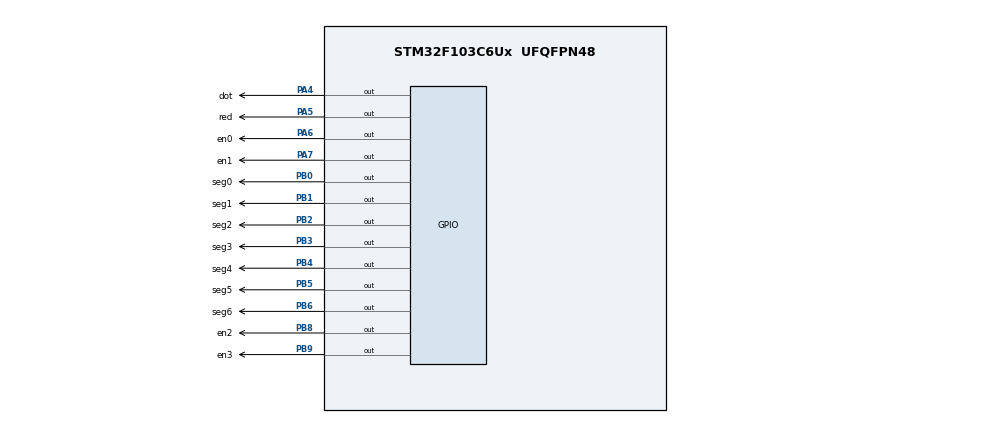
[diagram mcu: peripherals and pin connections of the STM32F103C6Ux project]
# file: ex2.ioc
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Mcu.Family=STM32F1
Mcu.Name=STM32F103C6Ux
Mcu.Package=UFQFPN48
NVIC.PriorityGroup=NVIC_PRIORITYGROUP_4
PA4.GPIO_Label=dot
PA4.Signal=GPIO_Output
PA5.GPIO_Label=red
PA5.Signal=GPIO_Output
PA6.GPIO_Label=en0
PA6.Signal=GPIO_Output
PA7.GPIO_Label=en1
PA7.Signal=GPIO_Output
PB0.GPIO_Label=seg0
PB0.Signal=GPIO_Output
PB1.GPIO_Label=seg1
PB1.Signal=GPIO_Output
PB2.GPIO_Label=seg2
PB2.Signal=GPIO_Output
PB3.GPIO_Label=seg3
PB3.Signal=GPIO_Output
PB4.GPIO_Label=seg4
PB4.Signal=GPIO_Output
PB5.GPIO_Label=seg5
PB5.Signal=GPIO_Output
PB6.GPIO_Label=seg6
PB6.Signal=GPIO_Output
PB8.GPIO_Label=en2
PB8.Signal=GPIO_Output
PB9.GPIO_Label=en3
PB9.Signal=GPIO_Output
ProjectManager.HeapSize=0x200
ProjectManager.StackSize=0x400
ProjectManager.TargetToolchain=STM32CubeIDE
RCC.APB1Freq_Value=8000000
RCC.APB2Freq_Value=8000000
VP_SYS_VS_ND.Mode=No_Debug
board=custom

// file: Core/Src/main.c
/* USER CODE BEGIN Header */
/**
  ******************************************************************************
  * @file           : main.c
  * @brief          : Main program body
  ******************************************************************************
  * @attention
  *
  * <h2><center>&copy; Copyright (c) 2023 STMicroelectronics.
  * All rights reserved.</center></h2>
  *
  * This software component is licensed by ST under BSD 3-Clause license,
  * the "License"; You may not use this file except in compliance with the
  * License. You may obtain a copy of the License at:
  *                        opensource.org/licenses/BSD-3-Clause
  *
  ******************************************************************************
  */
/* USER CODE END Header */
#include "main.h"

/* USER CODE BEGIN PV */
void display7SEG(int num){
	  if(num == 0){
		  HAL_GPIO_WritePin(seg0_GPIO_Port, seg0_Pin, SET);
		  		  HAL_GPIO_WritePin(seg1_GPIO_Port, seg1_Pin, RESET);
		  		  HAL_GPIO_WritePin(seg2_GPIO_Port, seg2_Pin, RESET);
		  		  HAL_GPIO_WritePin(seg3_GPIO_Port, seg3_Pin, RESET);
		  		  HAL_GPIO_WritePin(seg4_GPIO_Port, seg4_Pin, RESET);
		  		  HAL_GPIO_WritePin(seg5_GPIO_Port, seg5_Pin, RESET);
		  		  HAL_GPIO_WritePin(seg6_GPIO_Port, seg6_Pin, SET);
	  }
	  if(num == 1){
		  HAL_GPIO_WritePin(seg0_GPIO_Port, seg0_Pin, SET);
		  HAL_GPIO_WritePin(seg1_GPIO_Port, seg1_Pin, RESET);
		  HAL_GPIO_WritePin(seg2_GPIO_Port, seg2_Pin, RESET);
		  HAL_GPIO_WritePin(seg3_GPIO_Port, seg3_Pin, SET);
		  HAL_GPIO_WritePin(seg4_GPIO_Port, seg4_Pin, SET);
		  HAL_GPIO_WritePin(seg5_GPIO_Port, seg5_Pin, SET);
		  HAL_GPIO_WritePin(seg6_GPIO_Port, seg6_Pin, SET);
	  }
	  if(num == 2){
		  HAL_GPIO_WritePin(seg0_GPIO_Port, seg0_Pin, RESET);
		  HAL_GPIO_WritePin(seg1_GPIO_Port, seg1_Pin, RESET);
		  HAL_GPIO_WritePin(seg2_GPIO_Port, seg2_Pin, SET);
		  HAL_GPIO_WritePin(seg3_GPIO_Port, seg3_Pin, RESET);
		  HAL_GPIO_WritePin(seg4_GPIO_Port, seg4_Pin, RESET);
		  HAL_GPIO_WritePin(seg5_GPIO_Port, seg5_Pin, SET);
		  HAL_GPIO_WritePin(seg6_GPIO_Port, seg6_Pin, RESET);
	  }
	  if(num == 3){
		  HAL_GPIO_WritePin(seg0_GPIO_Port, seg0_Pin, RESET);
		  HAL_GPIO_WritePin(seg1_GPIO_Port, seg1_Pin, RESET);
		  HAL_GPIO_WritePin(seg2_GPIO_Port, seg2_Pin, RESET);
		  HAL_GPIO_WritePin(seg3_GPIO_Port, seg3_Pin, RESET);
		  HAL_GPIO_WritePin(seg4_GPIO_Port, seg4_Pin, SET);
		  HAL_GPIO_WritePin(seg5_GPIO_Port, seg5_Pin, SET);
		  HAL_GPIO_WritePin(seg6_GPIO_Port, seg6_Pin, RESET);
	  }
	  if(num == 4){
		  HAL_GPIO_WritePin(seg0_GPIO_Port, seg0_Pin, SET);
		  HAL_GPIO_WritePin(seg1_GPIO_Port, seg1_Pin, RESET);
		  HAL_GPIO_WritePin(seg2_GPIO_Port, seg2_Pin, RESET);
		  HAL_GPIO_WritePin(seg3_GPIO_Port, seg3_Pin, SET);
		  HAL_GPIO_WritePin(seg4_GPIO_Port, seg4_Pin, SET);
		  HAL_GPIO_WritePin(seg5_GPIO_Port, seg5_Pin, RESET);
		  HAL_GPIO_WritePin(seg6_GPIO_Port, seg6_Pin, RESET);
	  }
	  if(num == 5){
		  HAL_GPIO_WritePin(seg0_GPIO_Port, seg0_Pin, RESET);
		  HAL_GPIO_WritePin(seg1_GPIO_Port, seg1_Pin, SET);
		  HAL_GPIO_WritePin(seg2_GPIO_Port, seg2_Pin, RESET);
		  HAL_GPIO_WritePin(seg3_GPIO_Port, seg3_Pin, RESET);
		  HAL_GPIO_WritePin(seg4_GPIO_Port, seg4_Pin, SET);
		  HAL_GPIO_WritePin(seg5_GPIO_Port, seg5_Pin, RESET);
		  HAL_GPIO_WritePin(seg6_GPIO_Port, seg6_Pin, RESET);
	  }
	  if(num == 6){
		  HAL_GPIO_WritePin(seg0_GPIO_Port, seg0_Pin, RESET);
		  HAL_GPIO_WritePin(seg1_GPIO_Port, seg1_Pin, SET);
		  HAL_GPIO_WritePin(seg2_GPIO_Port, seg2_Pin, RESET);
		  HAL_GPIO_WritePin(seg3_GPIO_Port, seg3_Pin, RESET);
		  HAL_GPIO_WritePin(seg4_GPIO_Port, seg4_Pin, RESET);
		  HAL_GPIO_WritePin(seg5_GPIO_Port, seg5_Pin, RESET);
		  HAL_GPIO_WritePin(seg6_GPIO_Port, seg6_Pin, RESET);
	  }
	  if(num == 7){
		  HAL_GPIO_WritePin(seg0_GPIO_Port, seg0_Pin, RESET);
		  HAL_GPIO_WritePin(seg1_GPIO_Port, seg1_Pin, RESET);
		  HAL_GPIO_WritePin(seg2_GPIO_Port, seg2_Pin, RESET);
		  HAL_GPIO_WritePin(seg3_GPIO_Port, seg3_Pin, SET);
		  HAL_GPIO_WritePin(seg4_GPIO_Port, seg4_Pin, SET);
		  HAL_GPIO_WritePin(seg5_GPIO_Port, seg5_Pin, SET);
		  HAL_GPIO_WritePin(seg6_GPIO_Port, seg6_Pin, SET);
	  }
	  if(num == 8){
		  HAL_GPIO_WritePin(seg0_GPIO_Port, seg0_Pin, RESET);
		  HAL_GPIO_WritePin(seg1_GPIO_Port, seg1_Pin, RESET);
		  HAL_GPIO_WritePin(seg2_GPIO_Port, seg2_Pin, RESET);
		  HAL_GPIO_WritePin(seg3_GPIO_Port, seg3_Pin, RESET);
		  HAL_GPIO_WritePin(seg4_GPIO_Port, seg4_Pin, RESET);
		  HAL_GPIO_WritePin(seg5_GPIO_Port, seg5_Pin, RESET);
		  HAL_GPIO_WritePin(seg6_GPIO_Port, seg6_Pin, RESET);
	  }
	  if(num == 9){
		  HAL_GPIO_WritePin(seg0_GPIO_Port, seg0_Pin, RESET);
		  HAL_GPIO_WritePin(seg1_GPIO_Port, seg1_Pin, RESET);
		  HAL_GPIO_WritePin(seg2_GPIO_Port, seg2_Pin, RESET);
		  HAL_GPIO_WritePin(seg3_GPIO_Port, seg3_Pin, RESET);
		  HAL_GPIO_WritePin(seg4_GPIO_Port, seg4_Pin, SET);
		  HAL_GPIO_WritePin(seg5_GPIO_Port, seg5_Pin, RESET);
		  HAL_GPIO_WritePin(seg6_GPIO_Port, seg6_Pin, RESET);
	  }
};
/* USER CODE END PV */

void SystemClock_Config(void);
static void MX_GPIO_Init(void);

int main(void)
{

  /* MCU Configuration--------------------------------------------------------*/

  /* Reset of all peripherals, Initializes the Flash interface and the Systick. */
  HAL_Init();

  /* Configure the system clock */
  SystemClock_Config();

  /* Initialize all configured peripherals */
  MX_GPIO_Init();

  /* Infinite loop */
  while (1)
  {
  }
}

void SystemClock_Config(void)
{
  RCC_OscInitTypeDef RCC_OscInitStruct = {0};
  RCC_ClkInitTypeDef RCC_ClkInitStruct = {0};

  /** Initializes the RCC Oscillators according to the specified parameters
  * in the RCC_OscInitTypeDef structure.
  */
  RCC_OscInitStruct.OscillatorType = RCC_OSCILLATORTYPE_HSI;
  RCC_OscInitStruct.HSIState = RCC_HSI_ON;
  RCC_OscInitStruct.HSICalibrationValue = RCC_HSICALIBRATION_DEFAULT;
  RCC_OscInitStruct.PLL.PLLState = RCC_PLL_NONE;
  if (HAL_RCC_OscConfig(&RCC_OscInitStruct) != HAL_OK)
  {
    Error_Handler();
  }
  /** Initializes the CPU, AHB and APB buses clocks
  */
  RCC_ClkInitStruct.ClockType = RCC_CLOCKTYPE_HCLK|RCC_CLOCKTYPE_SYSCLK
                              |RCC_CLOCKTYPE_PCLK1|RCC_CLOCKTYPE_PCLK2;
  RCC_ClkInitStruct.SYSCLKSource = RCC_SYSCLKSOURCE_HSI;
  RCC_ClkInitStruct.AHBCLKDivider = RCC_SYSCLK_DIV1;
  RCC_ClkInitStruct.APB1CLKDivider = RCC_HCLK_DIV1;
  RCC_ClkInitStruct.APB2CLKDivider = RCC_HCLK_DIV1;

  if (HAL_RCC_ClockConfig(&RCC_ClkInitStruct, FLASH_LATENCY_0) != HAL_OK)
  {
    Error_Handler();
  }
}

static void MX_GPIO_Init(void)
{
  GPIO_InitTypeDef GPIO_InitStruct = {0};

  /* GPIO Ports Clock Enable */
  __HAL_RCC_GPIOA_CLK_ENABLE();
  __HAL_RCC_GPIOB_CLK_ENABLE();

  /*Configure GPIO pin Output Level */
  HAL_GPIO_WritePin(GPIOA, dot_Pin|red_Pin|en0_Pin|en1_Pin, GPIO_PIN_RESET);

  /*Configure GPIO pin Output Level */
  HAL_GPIO_WritePin(GPIOB, seg0_Pin|seg1_Pin|seg2_Pin|seg3_Pin
                          |seg4_Pin|seg5_Pin|seg6_Pin|en2_Pin
                          |en3_Pin, GPIO_PIN_RESET);

  /*Configure GPIO pins : dot_Pin red_Pin en0_Pin en1_Pin */
  GPIO_InitStruct.Pin = dot_Pin|red_Pin|en0_Pin|en1_Pin;
  GPIO_InitStruct.Mode = GPIO_MODE_OUTPUT_PP;
  GPIO_InitStruct.Pull = GPIO_NOPULL;
  GPIO_InitStruct.Speed = GPIO_SPEED_FREQ_LOW;
  HAL_GPIO_Init(GPIOA, &GPIO_InitStruct);

  /*Configure GPIO pins : seg0_Pin seg1_Pin seg2_Pin seg3_Pin
                           seg4_Pin seg5_Pin seg6_Pin en2_Pin
                           en3_Pin */
  GPIO_InitStruct.Pin = seg0_Pin|seg1_Pin|seg2_Pin|seg3_Pin
                          |seg4_Pin|seg5_Pin|seg6_Pin|en2_Pin
                          |en3_Pin;
  GPIO_InitStruct.Mode = GPIO_MODE_OUTPUT_PP;
  GPIO_InitStruct.Pull = GPIO_NOPULL;
  GPIO_InitStruct.Speed = GPIO_SPEED_FREQ_LOW;
  HAL_GPIO_Init(GPIOB, &GPIO_InitStruct);

}

/* USER CODE BEGIN 4 */
int count = 0;
void HAL_TIM_PeriodElapsedCallback ( TIM_HandleTypeDef * htim ){
	if (count == 0){
		HAL_GPIO_WritePin(led_red_GPIO_Port, led_red_Pin, RESET);
		HAL_GPIO_WritePin(DOT_GPIO_Port, DOT_Pin, RESET);
		HAL_GPIO_WritePin(en0_GPIO_Port, en0_Pin, RESET);
		HAL_GPIO_WritePin(en1_GPIO_Port, en1_Pin, SET);
		HAL_GPIO_WritePin(en2_GPIO_Port, en2_Pin, SET);
		HAL_GPIO_WritePin(en3_GPIO_Port, en3_Pin, SET);
		display7SEG(1);
	}
	if (count == 50){
		HAL_GPIO_WritePin(led_red_GPIO_Port, led_red_Pin, SET);
		HAL_GPIO_WritePin(en0_GPIO_Port, en0_Pin, SET);
		HAL_GPIO_WritePin(en1_GPIO_Port, en1_Pin, RESET);
		HAL_GPIO_WritePin(en2_GPIO_Port, en2_Pin, SET);
		HAL_GPIO_WritePin(en3_GPIO_Port, en3_Pin, SET);
		display7SEG(2);
	}
	if (count == 100){
		HAL_GPIO_WritePin(DOT_GPIO_Port, DOT_Pin, SET);
		HAL_GPIO_WritePin(led_red_GPIO_Port, led_red_Pin, RESET);
		HAL_GPIO_WritePin(en0_GPIO_Port, en0_Pin, SET);
		HAL_GPIO_WritePin(en1_GPIO_Port, en1_Pin, SET);
		HAL_GPIO_WritePin(en2_GPIO_Port, en2_Pin, RESET);
		HAL_GPIO_WritePin(en3_GPIO_Port, en3_Pin, SET);
		display7SEG(3);
	}
	if (count == 150){
		HAL_GPIO_WritePin(led_red_GPIO_Port, led_red_Pin, SET);
		HAL_GPIO_WritePin(en0_GPIO_Port, en0_Pin, SET);
		HAL_GPIO_WritePin(en1_GPIO_Port, en1_Pin, SET);
		HAL_GPIO_WritePin(en2_GPIO_Port, en2_Pin, SET);
		HAL_GPIO_WritePin(en3_GPIO_Port, en3_Pin, RESET);
		display7SEG(0);
	}
	if (count >= 199){
		count = -1;
	}

	count++;
}

/* USER CODE END 4 */

void Error_Handler(void)
{
  __disable_irq();
  while (1)
  {
  }
}

/************************ (C) COPYRIGHT STMicroelectronics *****END OF FILE****/
